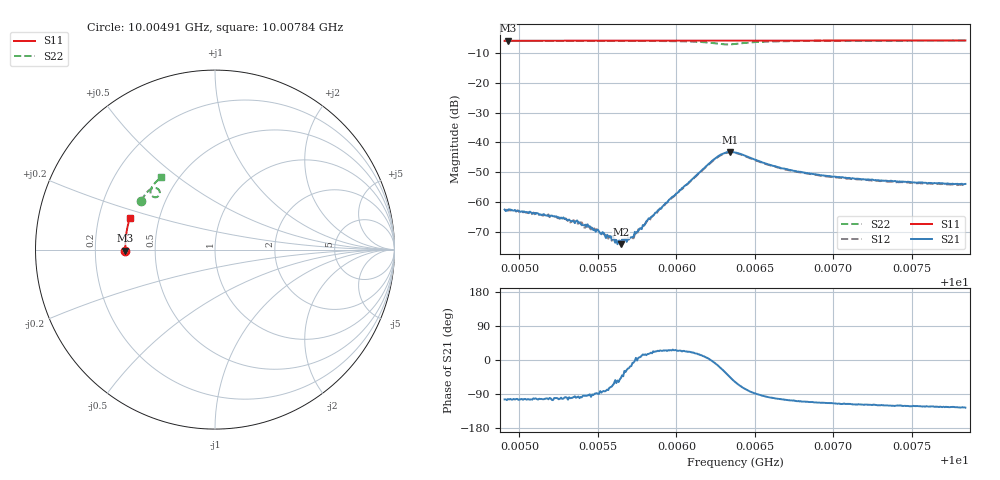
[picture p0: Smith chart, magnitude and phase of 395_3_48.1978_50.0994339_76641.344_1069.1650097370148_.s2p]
#  HZ  S  RI  R  50.00
! Rohde & Schwarz Vector Network Analyzer
! Rohde-Schwarz,ZNB20-2Port,1311601062101988,3.16
! Created: UTC 3/20/2024, 11:53:47 AM
! freq[Hz]  re:S11  im:S11  re:S21  im:S21  re:S12  im:S12  re:S22  im:S22
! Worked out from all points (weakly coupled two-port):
!   401 points, 10.00491 GHz to 10.00784 GHz, reference 50 ohm
!   highest |S21| = -43.15 dB at 10.00634 GHz (marker M1); lowest = -74.0 dB at 10.00565 GHz (marker M2)
!   lowest |S11| = -6.0 dB at 10.00493 GHz (marker M3), VSWR 2.99, Z = 16.7 - j0.305 ohm
!   |S11| at or under -10 dB: nowhere
!   |S22| runs from -7.3 to -6.0 dB; largest |S21 - S12| = 0.00042
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1.0004906e10  -0.4993 -0.00836  -0.000183 -0.000736  -0.000112 -0.00074  -0.4127 0.272
1.0004928e10  -0.4993 -0.00686  -0.000169 -0.000733  -0.000131 -0.000718  -0.4119 0.2734
1.0005221e10  -0.4999 0.0122  -0.000108 -0.000576  -7.92e-05 -0.000574  -0.4009 0.2907
1.0005376e10  -0.4998 0.0221  -5.12e-05 -0.000453  -3.18e-05 -0.000439  -0.3945 0.2997
1.0005398e10  -0.4998 0.0236  -6.11e-05 -0.000411  -3.07e-05 -0.00046  -0.3936 0.3012
1.0005478e10  -0.4998 0.0289  4.4e-06 -0.000351  1.26e-05 -0.000364  -0.3899 0.306
1.0005581e10  -0.4994 0.0354  8.63e-05 -0.000259  6.79e-05 -0.00025  -0.3851 0.3122
1.0005618e10  -0.4993 0.0378  0.000115 -0.000205  0.000133 -0.000176  -0.3833 0.3146
1.0005647e10  -0.4993 0.0399  0.000135 -0.000146  0.000126 -0.000136  -0.3818 0.3163
1.0005684e10  -0.4993 0.0422  0.000197 -9.64e-05  0.000205 -9.26e-05  -0.3798 0.3187
1.0005713e10  -0.4991 0.0441  0.000251 -7.16e-05  0.000244 -1.75e-05  -0.378 0.3203
1.0005772e10  -0.4989 0.0479  0.000363 5.1e-05  0.000365 7.04e-05  -0.3746 0.3243
1.0005823e10  -0.4985 0.0511  0.00052 0.000147  0.00048 0.000156  -0.3711 0.3275
1.0005889e10  -0.4982 0.0554  0.000686 0.000297  0.000674 0.000352  -0.3661 0.3317
1.0006242e10  -0.4954 0.0782  0.00522 -0.000626  0.00515 -0.000353  -0.311 0.3301
1.0006293e10  -0.4949 0.0812  0.00583 -0.00273  0.00582 -0.00243  -0.3078 0.3112
1.0006345e10  -0.4946 0.0844  0.00479 -0.00504  0.00495 -0.00466  -0.3204 0.2943
1.0006374e10  -0.4944 0.0861  0.00362 -0.00578  0.00386 -0.00544  -0.3317 0.2913
1.000666e10  -0.4919 0.1043  -0.000856 -0.0037  -0.000673 -0.00367  -0.3578 0.3346
1.0006866e10  -0.4894 0.1174  -0.00106 -0.0028  -0.000922 -0.00277  -0.3484 0.3532
1.0007358e10  -0.482 0.1483  -0.00114 -0.00196  -0.001 -0.00197  -0.3238 0.3823
1.0007842e10  -0.4729 0.1781  -0.00118 -0.00165  -0.00104 -0.00164  -0.2991 0.405
